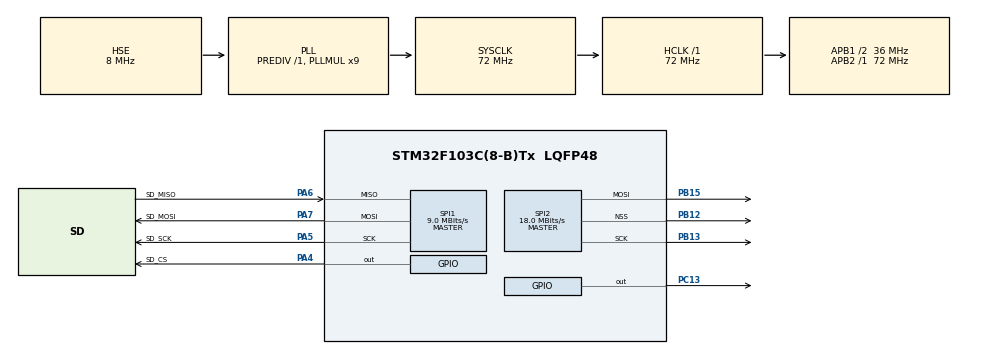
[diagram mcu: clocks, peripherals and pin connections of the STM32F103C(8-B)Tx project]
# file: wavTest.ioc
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FATFS._MAX_SS=4096
FATFS._USE_LFN=1
Mcu.Family=STM32F1
Mcu.Name=STM32F103C(8-B)Tx
Mcu.Package=LQFP48
NVIC.PriorityGroup=NVIC_PRIORITYGROUP_4
NVIC.TIM4_IRQn=true\:0\:0\:false\:false\:true\:true\:true
PA13.Mode=Serial_Wire
PA13.Signal=SYS_JTMS-SWDIO
PA14.Mode=Serial_Wire
PA14.Signal=SYS_JTCK-SWCLK
PA4.GPIO_Label=SD_CS
PA4.GPIO_Speed=GPIO_SPEED_FREQ_MEDIUM
PA4.PinState=GPIO_PIN_SET
PA4.Signal=GPIO_Output
PA5.GPIO_Label=SD_SCK
PA5.Mode=Full_Duplex_Master
PA5.Signal=SPI1_SCK
PA6.GPIO_Label=SD_MISO
PA6.Mode=Full_Duplex_Master
PA6.Signal=SPI1_MISO
PA7.GPIO_Label=SD_MOSI
PA7.Mode=Full_Duplex_Master
PA7.Signal=SPI1_MOSI
PB12.Mode=NSS_Signal_Hard_Output
PB12.Signal=SPI2_NSS
PB13.Mode=TX_Only_Simplex_Unidirect_Master
PB13.Signal=SPI2_SCK
PB15.Mode=TX_Only_Simplex_Unidirect_Master
PB15.Signal=SPI2_MOSI
PC13-TAMPER-RTC.Signal=GPIO_Output
PD0-OSC_IN.Mode=HSE-External-Oscillator
PD0-OSC_IN.Signal=RCC_OSC_IN
PD1-OSC_OUT.Mode=HSE-External-Oscillator
PD1-OSC_OUT.Signal=RCC_OSC_OUT
ProjectManager.HeapSize=0x200
ProjectManager.StackSize=0x400
ProjectManager.TargetToolchain=STM32CubeIDE
RCC.AHBFreq_Value=72000000
RCC.APB1CLKDivider=RCC_HCLK_DIV2
RCC.APB1Freq_Value=36000000
RCC.APB1TimFreq_Value=72000000
RCC.APB2Freq_Value=72000000
RCC.APB2TimFreq_Value=72000000
RCC.HCLKFreq_Value=72000000
RCC.PLLMUL=RCC_PLL_MUL9
RCC.PLLSourceVirtual=RCC_PLLSOURCE_HSE
RCC.SYSCLKFreq_VALUE=72000000
RCC.SYSCLKSource=RCC_SYSCLKSOURCE_PLLCLK
RCC.USBFreq_Value=72000000
SPI1.BaudRatePrescaler=SPI_BAUDRATEPRESCALER_8
SPI1.CalculateBaudRate=9.0 MBits/s
SPI1.Direction=SPI_DIRECTION_2LINES
SPI1.Mode=SPI_MODE_MASTER
SPI1.VirtualType=VM_MASTER
SPI2.CalculateBaudRate=18.0 MBits/s
SPI2.Direction=SPI_DIRECTION_2LINES
SPI2.Mode=SPI_MODE_MASTER
SPI2.VirtualNSS=VM_NSSHARD
SPI2.VirtualType=VM_MASTER
TIM4.Period=1633
TIM4.Prescaler=1
VP_FATFS_VS_Generic.Mode=User_defined
VP_RTC_VS_RTC_Activate.Mode=RTC_Enabled
VP_TIM4_VS_ClockSourceINT.Mode=Internal
board=custom

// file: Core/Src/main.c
/* USER CODE BEGIN Header */
/**
 ******************************************************************************
 * @file           : main.c
 * @brief          : Main program body
 ******************************************************************************
 * @attention
 *
 * <h2><center>&copy; Copyright (c) 2020 STMicroelectronics.
 * All rights reserved.</center></h2>
 *
 * This software component is licensed by ST under BSD 3-Clause license,
 * the "License"; You may not use this file except in compliance with the
 * License. You may obtain a copy of the License at:
 *                        opensource.org/licenses/BSD-3-Clause
 *
 ******************************************************************************
 */
/* USER CODE END Header */

#include "main.h"
#include "fatfs.h"

/* USER CODE BEGIN Includes */
#include "wave.h"
/* USER CODE END Includes */

RTC_HandleTypeDef hrtc;

SPI_HandleTypeDef hspi1;
SPI_HandleTypeDef hspi2;

TIM_HandleTypeDef htim4;

void SystemClock_Config(void);
static void MX_GPIO_Init(void);
static void MX_SPI1_Init(void);
static void MX_SPI2_Init(void);
static void MX_RTC_Init(void);
static void MX_TIM4_Init(void);

int main(void)
{
  /* USER CODE BEGIN 1 */
	FATFS fs;			//filesystem object
	FIL wavFile;		//wave file object for audio data
	FRESULT fres;		//file operation result object (for err checking)
	Wave waveData;		//Wave object to store the wave file's metadata
	int totalBytesRead, bytesRead;		//the number of bytes read from the file

  /* USER CODE END 1 */

  /* MCU Configuration--------------------------------------------------------*/

  /* Reset of all peripherals, Initializes the Flash interface and the Systick. */
  HAL_Init();

  /* Configure the system clock */
  SystemClock_Config();

  /* Initialize all configured peripherals */
  MX_GPIO_Init();
  MX_SPI1_Init();
  MX_SPI2_Init();
  MX_RTC_Init();
  MX_FATFS_Init();
  MX_TIM4_Init();
  /* USER CODE BEGIN 2 */

	//mount drive
	fres = f_mount(&fs, "/", 1); //1=mount now
	if (fres != FR_OK) {
		while (1);
	}
	//Open wav file
    fres = f_open(&wavFile, "fishery.wav", FA_READ);
    if (fres != FR_OK) {
    		while (1);
    }
	//read header
	f_read(&wavFile, &waveData, 44, &bytesRead);	//TODO: add error checking here
	//populate header with data
	fixWave(&waveData);

	//fill buffer to start
	totalBytesRead = 0;
	do{
		f_read(&wavFile, audioBuffer, AUDIO_BUFFER_SIZE*2, &bytesRead);
		totalBytesRead += bytesRead;
	} while(totalBytesRead < AUDIO_BUFFER_SIZE*2 && !f_eof(&wavFile));

	//Timer interrupt enable
	HAL_TIM_Base_Start_IT(&htim4);

  /* USER CODE END 2 */

  /* Infinite loop */
	while (1) {

    /* USER CODE BEGIN 3 */

			//reload audio data if necessary
			//if audio EOF flag isn't set
			if(!(audioFlag&AUDIO_EOF)) {

				//TODO: add flag to indicate if file needs reloading
				//TODO: add buffer filling for second half of buffer
				//TODO: stop timer if file is finished

				//load the second half of the array if necessary
				if(audioFlag&AUDIO_LOADLAST && audioDataInd < AUDIO_BUFFER_SIZE/2 && !f_eof(&wavFile)) {
					totalBytesRead = 0;
					do{
						f_read(&wavFile, &(audioBuffer[AUDIO_BUFFER_SIZE/2]), AUDIO_BUFFER_SIZE, &bytesRead);
						totalBytesRead += bytesRead;
					} while(totalBytesRead < AUDIO_BUFFER_SIZE && !f_eof(&wavFile));
				}
				//else load the first half of the array if necessary
				else if(!(audioFlag&AUDIO_LOADLAST) && audioDataInd > AUDIO_BUFFER_SIZE/2 && !f_eof(&wavFile)) {
					totalBytesRead = 0;
					do{
						f_read(&wavFile, &(audioBuffer[AUDIO_BUFFER_SIZE/2]), AUDIO_BUFFER_SIZE, &bytesRead);
						totalBytesRead += bytesRead;
					} while(totalBytesRead < AUDIO_BUFFER_SIZE && !f_eof(&wavFile));
				}

				//if file has reached EOF after read
				if(f_eof(&wavFile)) {
					audioFlag |= AUDIO_EOF;
					//close files and unmount SD card
					f_close(&wavFile);
					f_mount(NULL, "", 0);
				}
			}

	}
  /* USER CODE END 3 */
}

void SystemClock_Config(void)
{
  RCC_OscInitTypeDef RCC_OscInitStruct = {0};
  RCC_ClkInitTypeDef RCC_ClkInitStruct = {0};
  RCC_PeriphCLKInitTypeDef PeriphClkInit = {0};

  /** Initializes the CPU, AHB and APB busses clocks
  */
  RCC_OscInitStruct.OscillatorType = RCC_OSCILLATORTYPE_LSI|RCC_OSCILLATORTYPE_HSE;
  RCC_OscInitStruct.HSEState = RCC_HSE_ON;
  RCC_OscInitStruct.HSEPredivValue = RCC_HSE_PREDIV_DIV1;
  RCC_OscInitStruct.HSIState = RCC_HSI_ON;
  RCC_OscInitStruct.LSIState = RCC_LSI_ON;
  RCC_OscInitStruct.PLL.PLLState = RCC_PLL_ON;
  RCC_OscInitStruct.PLL.PLLSource = RCC_PLLSOURCE_HSE;
  RCC_OscInitStruct.PLL.PLLMUL = RCC_PLL_MUL9;
  if (HAL_RCC_OscConfig(&RCC_OscInitStruct) != HAL_OK)
  {
    Error_Handler();
  }
  /** Initializes the CPU, AHB and APB busses clocks
  */
  RCC_ClkInitStruct.ClockType = RCC_CLOCKTYPE_HCLK|RCC_CLOCKTYPE_SYSCLK
                              |RCC_CLOCKTYPE_PCLK1|RCC_CLOCKTYPE_PCLK2;
  RCC_ClkInitStruct.SYSCLKSource = RCC_SYSCLKSOURCE_PLLCLK;
  RCC_ClkInitStruct.AHBCLKDivider = RCC_SYSCLK_DIV1;
  RCC_ClkInitStruct.APB1CLKDivider = RCC_HCLK_DIV2;
  RCC_ClkInitStruct.APB2CLKDivider = RCC_HCLK_DIV1;

  if (HAL_RCC_ClockConfig(&RCC_ClkInitStruct, FLASH_LATENCY_2) != HAL_OK)
  {
    Error_Handler();
  }
  PeriphClkInit.PeriphClockSelection = RCC_PERIPHCLK_RTC;
  PeriphClkInit.RTCClockSelection = RCC_RTCCLKSOURCE_LSI;
  if (HAL_RCCEx_PeriphCLKConfig(&PeriphClkInit) != HAL_OK)
  {
    Error_Handler();
  }
}

static void MX_RTC_Init(void)
{

  /** Initialize RTC Only
  */
  hrtc.Instance = RTC;
  hrtc.Init.AsynchPrediv = RTC_AUTO_1_SECOND;
  hrtc.Init.OutPut = RTC_OUTPUTSOURCE_ALARM;
  if (HAL_RTC_Init(&hrtc) != HAL_OK)
  {
    Error_Handler();
  }

}

static void MX_SPI1_Init(void)
{

  /* SPI1 parameter configuration*/
  hspi1.Instance = SPI1;
  hspi1.Init.Mode = SPI_MODE_MASTER;
  hspi1.Init.Direction = SPI_DIRECTION_2LINES;
  hspi1.Init.DataSize = SPI_DATASIZE_8BIT;
  hspi1.Init.CLKPolarity = SPI_POLARITY_LOW;
  hspi1.Init.CLKPhase = SPI_PHASE_1EDGE;
  hspi1.Init.NSS = SPI_NSS_SOFT;
  hspi1.Init.BaudRatePrescaler = SPI_BAUDRATEPRESCALER_8;
  hspi1.Init.FirstBit = SPI_FIRSTBIT_MSB;
  hspi1.Init.TIMode = SPI_TIMODE_DISABLE;
  hspi1.Init.CRCCalculation = SPI_CRCCALCULATION_DISABLE;
  hspi1.Init.CRCPolynomial = 10;
  if (HAL_SPI_Init(&hspi1) != HAL_OK)
  {
    Error_Handler();
  }

}

static void MX_SPI2_Init(void)
{

  /* SPI2 parameter configuration*/
  hspi2.Instance = SPI2;
  hspi2.Init.Mode = SPI_MODE_MASTER;
  hspi2.Init.Direction = SPI_DIRECTION_2LINES;
  hspi2.Init.DataSize = SPI_DATASIZE_8BIT;
  hspi2.Init.CLKPolarity = SPI_POLARITY_LOW;
  hspi2.Init.CLKPhase = SPI_PHASE_1EDGE;
  hspi2.Init.NSS = SPI_NSS_HARD_OUTPUT;
  hspi2.Init.BaudRatePrescaler = SPI_BAUDRATEPRESCALER_2;
  hspi2.Init.FirstBit = SPI_FIRSTBIT_MSB;
  hspi2.Init.TIMode = SPI_TIMODE_DISABLE;
  hspi2.Init.CRCCalculation = SPI_CRCCALCULATION_DISABLE;
  hspi2.Init.CRCPolynomial = 10;
  if (HAL_SPI_Init(&hspi2) != HAL_OK)
  {
    Error_Handler();
  }

}

static void MX_TIM4_Init(void)
{

  TIM_ClockConfigTypeDef sClockSourceConfig = {0};
  TIM_MasterConfigTypeDef sMasterConfig = {0};

  htim4.Instance = TIM4;
  htim4.Init.Prescaler = 1;
  htim4.Init.CounterMode = TIM_COUNTERMODE_UP;
  htim4.Init.Period = 1633;
  htim4.Init.ClockDivision = TIM_CLOCKDIVISION_DIV1;
  htim4.Init.AutoReloadPreload = TIM_AUTORELOAD_PRELOAD_DISABLE;
  if (HAL_TIM_Base_Init(&htim4) != HAL_OK)
  {
    Error_Handler();
  }
  sClockSourceConfig.ClockSource = TIM_CLOCKSOURCE_INTERNAL;
  if (HAL_TIM_ConfigClockSource(&htim4, &sClockSourceConfig) != HAL_OK)
  {
    Error_Handler();
  }
  sMasterConfig.MasterOutputTrigger = TIM_TRGO_RESET;
  sMasterConfig.MasterSlaveMode = TIM_MASTERSLAVEMODE_DISABLE;
  if (HAL_TIMEx_MasterConfigSynchronization(&htim4, &sMasterConfig) != HAL_OK)
  {
    Error_Handler();
  }

}

static void MX_GPIO_Init(void)
{
  GPIO_InitTypeDef GPIO_InitStruct = {0};

  /* GPIO Ports Clock Enable */
  __HAL_RCC_GPIOC_CLK_ENABLE();
  __HAL_RCC_GPIOD_CLK_ENABLE();
  __HAL_RCC_GPIOA_CLK_ENABLE();
  __HAL_RCC_GPIOB_CLK_ENABLE();

  /*Configure GPIO pin Output Level */
  HAL_GPIO_WritePin(GPIOC, GPIO_PIN_13, GPIO_PIN_RESET);

  /*Configure GPIO pin Output Level */
  HAL_GPIO_WritePin(SD_CS_GPIO_Port, SD_CS_Pin, GPIO_PIN_SET);

  /*Configure GPIO pin : PC13 */
  GPIO_InitStruct.Pin = GPIO_PIN_13;
  GPIO_InitStruct.Mode = GPIO_MODE_OUTPUT_PP;
  GPIO_InitStruct.Pull = GPIO_NOPULL;
  GPIO_InitStruct.Speed = GPIO_SPEED_FREQ_LOW;
  HAL_GPIO_Init(GPIOC, &GPIO_InitStruct);

  /*Configure GPIO pin : SD_CS_Pin */
  GPIO_InitStruct.Pin = SD_CS_Pin;
  GPIO_InitStruct.Mode = GPIO_MODE_OUTPUT_PP;
  GPIO_InitStruct.Pull = GPIO_NOPULL;
  GPIO_InitStruct.Speed = GPIO_SPEED_FREQ_MEDIUM;
  HAL_GPIO_Init(SD_CS_GPIO_Port, &GPIO_InitStruct);

}

void Error_Handler(void)
{
}

/************************ (C) COPYRIGHT STMicroelectronics *****END OF FILE****/
